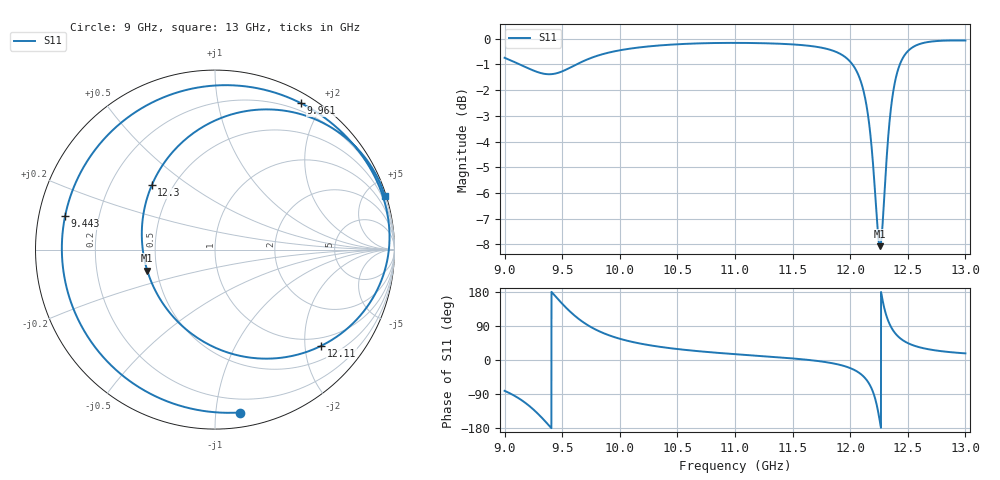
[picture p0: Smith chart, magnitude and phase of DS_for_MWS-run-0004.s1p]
! TOUCHSTONE file generated by CST DESIGN STUDIO
! Date and time: Tue Feb  4 13:09:03 2025
! Project name: C:\Work\MatlabApps\UnitCellOptimizationMatlab\CST\unitcell.cst
! Tree item: Tasks\Sweep1\SPara1\S-Parameters
! Header version: 2024
! Port assignment regex: !\s*Touchstone port\s*([0-9]+)\s*=\s*(CST MWS port|CST DES external port|CST DES block port)\s*(.+)\s* \(\"(.*)\"\)(\s*mode\s*([0-9]+))?.*
! Touchstone port assignment:
! Touchstone port 1 = CST DES external port 1 ("")
# GHz S MA R 50
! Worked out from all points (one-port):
!   4001 points, 9 GHz to 13 GHz, reference 50 ohm
!   lowest |S11| = -8.1 dB at 12.26 GHz (marker M1), VSWR 2.31, Z = 22.1 - j6.09 ohm
!   |S11| at or under -10 dB: nowhere
!   S11 on the Smith chart (normalised r, x): 9 GHz: 0.10, -1.16; 9.443 GHz: 0.08, +0.11; 9.961 GHz: 0.11, +1.74; 12.11 GHz: 0.80, -2.37; 12.3 GHz: 0.38, +0.37; 13 GHz: 0.17, +6.50
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9  0.9181 -81.3
9.13  0.8916 -102.5
9.231  0.8709 -125.5
9.349  0.8542 -160.7
9.443  0.8558 167.5
9.5  0.8641 148.5
9.588  0.883 122.3
9.681  0.904 100.0
9.816  0.9283 76.5
9.961  0.9459 59.6
10  0.9495 56.0
10.214  0.9643 41.3
10.5  0.9755 28.9
11  0.9815 15.4
11.5  0.9749 4.1
11.801  0.9551 -6.2
12  0.9024 -21.3
12.111  0.7992 -42.1
12.196  0.5789 -82.7
12.226  0.4641 -112.9
12.258  0.3951 -162.9
12.298  0.5028 134.5
12.333  0.6572 101.1
12.37  0.7804 79.2
12.43  0.8901 58.3
12.5  0.9456 44.6
12.674  0.9852 28.7
13  0.9921 17.5
